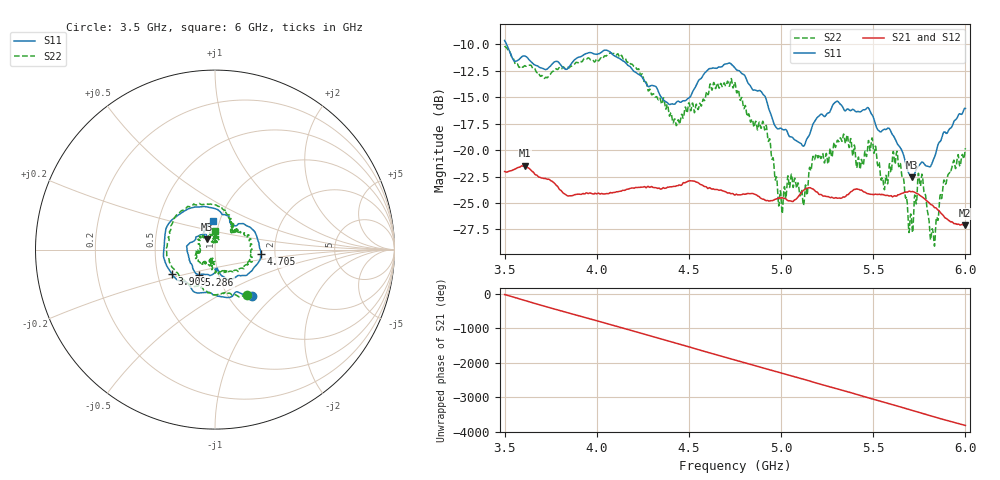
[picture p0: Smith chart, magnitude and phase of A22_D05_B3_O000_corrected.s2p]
! Created with skrf 1.9.0 (http://scikit-rf.org).
# Hz S RI R 50.0
!freq ReS11 ImS11 ReS21 ImS21 ReS12 ImS12 ReS22 ImS22
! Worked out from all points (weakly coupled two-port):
!   1601 points, 3.5 GHz to 6 GHz, reference 50 ohm
!   highest |S21| = -21.48 dB at 3.609 GHz (marker M1); lowest = -27.1 dB at 5.995 GHz (marker M2)
!   lowest |S11| = -22.6 dB at 5.711 GHz (marker M3), VSWR 1.16, Z = 45.2 + j5.27 ohm
!   |S11| at or under -10 dB: 3.511 GHz to end of sweep
!   |S22| runs from -29.1 to -10.2 dB; largest |S21 - S12| = 0.00094
!   S11 on the Smith chart (normalised r, x): 3.5 GHz: 1.27, -0.74; 3.909 GHz: 0.59, -0.17; 4.705 GHz: 1.68, -0.09; 5.286 GHz: 0.81, -0.23; 6 GHz: 0.94, +0.30
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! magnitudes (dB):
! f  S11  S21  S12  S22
! 3.5 GHz  -9.6  -22.0  -22.0  -10.2
! 3.609 GHz  -11.1  -21.5  -21.5  -12.0
! 3.909 GHz  -11.2  -24.2  -24.1  -11.6
! 3.917 GHz  -11.1  -24.2  -24.2  -11.6
! 4.125 GHz  -11.4  -23.9  -23.9  -11.2
! 4.334 GHz  -14.5  -23.6  -23.5  -15.2
! 4.441 GHz  -15.4  -23.4  -23.3  -17.2
! 4.705 GHz  -11.8  -24.0  -23.9  -13.7
! 4.75 GHz  -12.2  -24.2  -24.2  -13.6
! 4.912 GHz  -14.9  -24.7  -24.7  -18.1
! 4.997 GHz  -17.9  -24.5  -24.5  -23.9
! 5.13 GHz  -19.4  -23.7  -23.7  -23.7
! 5.167 GHz  -17.8  -23.6  -23.6  -21.3
! 5.286 GHz  -15.6  -24.5  -24.5  -19.4
! 5.584 GHz  -17.9  -24.3  -24.3  -21.9
! 5.636 GHz  -19.5  -24.2  -24.2  -21.3
! 5.711 GHz  -22.6  -23.9  -23.9  -27.5
! 5.756 GHz  -21.3  -24.3  -24.3  -23.4
! 5.823 GHz  -21.0  -25.2  -25.2  -27.6
! 5.891 GHz  -18.3  -26.4  -26.4  -23.1
! 5.995 GHz  -16.1  -27.1  -27.0  -20.5
! 6 GHz  -16.1  -27.1  -27.1  -19.8
